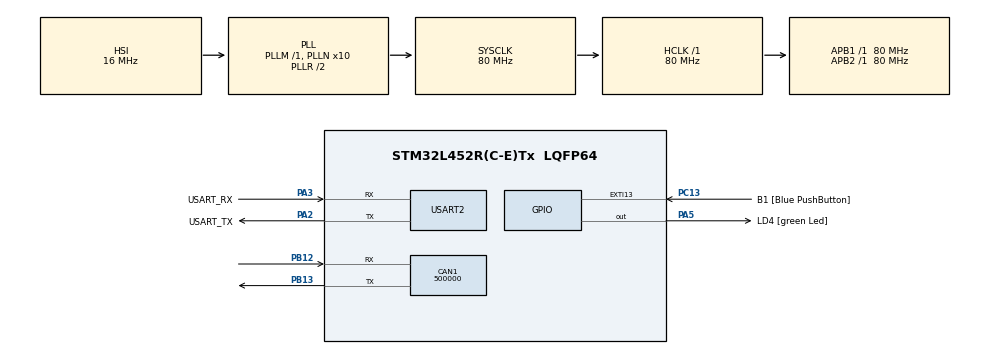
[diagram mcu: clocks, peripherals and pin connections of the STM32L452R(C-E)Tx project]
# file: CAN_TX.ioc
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CAN1.BS1=CAN_BS1_6TQ
CAN1.BS2=CAN_BS2_3TQ
CAN1.CalculateBaudRate=500000
CAN1.CalculateTimeBit=2000
CAN1.CalculateTimeQuantum=200.0
Mcu.Family=STM32L4
Mcu.Name=STM32L452R(C-E)Tx
Mcu.Package=LQFP64
NVIC.CAN1_RX0_IRQn=true\:0\:0\:false\:false\:true\:true\:true\:true
NVIC.PriorityGroup=NVIC_PRIORITYGROUP_4
PA13\ (JTMS/SWDIO).GPIO_Label=TMS
PA13\ (JTMS/SWDIO).Mode=Serial_Wire
PA13\ (JTMS/SWDIO).Signal=SYS_JTMS-SWDIO
PA14\ (JTCK/SWCLK).GPIO_Label=TCK
PA14\ (JTCK/SWCLK).Mode=Serial_Wire
PA14\ (JTCK/SWCLK).Signal=SYS_JTCK-SWCLK
PA2.GPIO_Label=USART_TX
PA2.GPIO_Mode=GPIO_MODE_AF_PP
PA2.GPIO_PuPd=GPIO_NOPULL
PA2.GPIO_Speed=GPIO_SPEED_FREQ_VERY_HIGH
PA2.Mode=Asynchronous
PA2.Signal=USART2_TX
PA3.GPIO_Label=USART_RX
PA3.GPIO_Mode=GPIO_MODE_AF_PP
PA3.GPIO_PuPd=GPIO_NOPULL
PA3.GPIO_Speed=GPIO_SPEED_FREQ_VERY_HIGH
PA3.Mode=Asynchronous
PA3.Signal=USART2_RX
PA5.GPIO_Label=LD4 [green Led]
PA5.GPIO_ModeDefaultOutputPP=GPIO_MODE_OUTPUT_PP
PA5.GPIO_PuPd=GPIO_NOPULL
PA5.GPIO_Speed=GPIO_SPEED_FREQ_LOW
PA5.Signal=GPIO_Output
PB12.Mode=CAN_Activate
PB12.Signal=CAN1_RX
PB13.Mode=CAN_Activate
PB13.Signal=CAN1_TX
PB3\ (JTDO/TRACESWO).GPIO_Label=SWO
PB3\ (JTDO/TRACESWO).Signal=SYS_JTDO-SWO
PC13.GPIO_Label=B1 [Blue PushButton]
PC13.GPIO_ModeDefaultEXTI=GPIO_MODE_IT_FALLING
PC13.GPIO_PuPd=GPIO_NOPULL
PC13.Signal=GPXTI13
PC14-OSC32_IN\ (PC14).Mode=LSE-External-Oscillator
PC14-OSC32_IN\ (PC14).Signal=RCC_OSC32_IN
PC15-OSC32_OUT\ (PC15).Mode=LSE-External-Oscillator
PC15-OSC32_OUT\ (PC15).Signal=RCC_OSC32_OUT
PH0-OSC_IN\ (PH0).Signal=RCC_OSC_IN
PH1-OSC_OUT\ (PH1).Signal=RCC_OSC_OUT
ProjectManager.HeapSize=0x200
ProjectManager.StackSize=0x400
ProjectManager.TargetToolchain=STM32CubeIDE
RCC.ADCFreq_Value=64000000
RCC.AHBFreq_Value=80000000
RCC.APB1Freq_Value=80000000
RCC.APB1TimFreq_Value=80000000
RCC.APB2Freq_Value=80000000
RCC.APB2TimFreq_Value=80000000
RCC.CortexFreq_Value=80000000
RCC.HCLKFreq_Value=80000000
RCC.HSE_VALUE=8000000
RCC.HSI48_VALUE=48000000
RCC.HSI_VALUE=16000000
RCC.MSI_VALUE=4000000
RCC.PLLN=10
RCC.PLLSourceVirtual=RCC_PLLSOURCE_HSI
RCC.PREFETCH_ENABLE=1
RCC.SYSCLKFreq_VALUE=80000000
RCC.SYSCLKSource=RCC_SYSCLKSOURCE_PLLCLK
RCC.USBFreq_Value=64000000
RCC.VCOOutputFreq_Value=160000000
USART2.VirtualMode-Asynchronous=VM_ASYNC
board=NUCLEO-L452RE

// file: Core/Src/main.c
/* USER CODE BEGIN Header */
/**
  ******************************************************************************
  * @file           : main.c
  * @brief          : Main program body
  ******************************************************************************
  * @attention
  *
  * Copyright (c) 2024 STMicroelectronics.
  * All rights reserved.
  *
  * This software is licensed under terms that can be found in the LICENSE file
  * in the root directory of this software component.
  * If no LICENSE file comes with this software, it is provided AS-IS.
  *
  ******************************************************************************
  */
/* USER CODE END Header */
#include "main.h"

/* USER CODE BEGIN Includes */
#include <stdio.h>
#include <string.h>
#include <stdlib.h>
/* USER CODE END Includes */

/* USER CODE BEGIN PTD */
char uart_msg[100];
void print(char uart_buffer[]);
void printValue(int value);
/* USER CODE END PTD */

CAN_HandleTypeDef hcan1;

UART_HandleTypeDef huart2;

void SystemClock_Config(void);
static void MX_GPIO_Init(void);
static void MX_USART2_UART_Init(void);
static void MX_CAN1_Init(void);

/* USER CODE BEGIN 0 */
CAN_TxHeaderTypeDef TxHeader; //declare variables
CAN_RxHeaderTypeDef RxHeader;

uint8_t TxData[8];
uint8_t RxData[8];

uint32_t TxMailBox;
/* USER CODE END 0 */

int main(void)
{

  /* MCU Configuration--------------------------------------------------------*/

  /* Reset of all peripherals, Initializes the Flash interface and the Systick. */
  HAL_Init();

  /* Configure the system clock */
  SystemClock_Config();

  /* Initialize all configured peripherals */
  MX_GPIO_Init();
  MX_USART2_UART_Init();
  MX_CAN1_Init();
  /* USER CODE BEGIN 2 */
  HAL_CAN_Start(&hcan1); //start CAN

  TxHeader.DLC = 2;
  TxHeader.IDE = CAN_ID_STD;
  TxHeader.RTR = CAN_RTR_DATA;
  TxHeader.StdId = 0x33;

  TxData[0] = 0x10;
  TxData[1] = 0x33;

  /* USER CODE END 2 */

  /* Infinite loop */
  while (1)
  {

    /* USER CODE BEGIN 3 */
	  if(HAL_CAN_AddTxMessage(&hcan1, &TxHeader, TxData, &TxMailBox) == HAL_OK){
		  print("Mensaje enviado");
	  }
	  else{
		  print("Error en el envío");
	  }
	  HAL_Delay(100);
  }
  /* USER CODE END 3 */
}

void SystemClock_Config(void)
{
  RCC_OscInitTypeDef RCC_OscInitStruct = {0};
  RCC_ClkInitTypeDef RCC_ClkInitStruct = {0};

  /** Configure the main internal regulator output voltage
  */
  if (HAL_PWREx_ControlVoltageScaling(PWR_REGULATOR_VOLTAGE_SCALE1) != HAL_OK)
  {
    Error_Handler();
  }

  /** Initializes the RCC Oscillators according to the specified parameters
  * in the RCC_OscInitTypeDef structure.
  */
  RCC_OscInitStruct.OscillatorType = RCC_OSCILLATORTYPE_HSI;
  RCC_OscInitStruct.HSIState = RCC_HSI_ON;
  RCC_OscInitStruct.HSICalibrationValue = RCC_HSICALIBRATION_DEFAULT;
  RCC_OscInitStruct.PLL.PLLState = RCC_PLL_ON;
  RCC_OscInitStruct.PLL.PLLSource = RCC_PLLSOURCE_HSI;
  RCC_OscInitStruct.PLL.PLLM = 1;
  RCC_OscInitStruct.PLL.PLLN = 10;
  RCC_OscInitStruct.PLL.PLLP = RCC_PLLP_DIV7;
  RCC_OscInitStruct.PLL.PLLQ = RCC_PLLQ_DIV2;
  RCC_OscInitStruct.PLL.PLLR = RCC_PLLR_DIV2;
  if (HAL_RCC_OscConfig(&RCC_OscInitStruct) != HAL_OK)
  {
    Error_Handler();
  }

  /** Initializes the CPU, AHB and APB buses clocks
  */
  RCC_ClkInitStruct.ClockType = RCC_CLOCKTYPE_HCLK|RCC_CLOCKTYPE_SYSCLK
                              |RCC_CLOCKTYPE_PCLK1|RCC_CLOCKTYPE_PCLK2;
  RCC_ClkInitStruct.SYSCLKSource = RCC_SYSCLKSOURCE_PLLCLK;
  RCC_ClkInitStruct.AHBCLKDivider = RCC_SYSCLK_DIV1;
  RCC_ClkInitStruct.APB1CLKDivider = RCC_HCLK_DIV1;
  RCC_ClkInitStruct.APB2CLKDivider = RCC_HCLK_DIV1;

  if (HAL_RCC_ClockConfig(&RCC_ClkInitStruct, FLASH_LATENCY_4) != HAL_OK)
  {
    Error_Handler();
  }
}

static void MX_CAN1_Init(void)
{

  hcan1.Instance = CAN1;
  hcan1.Init.Prescaler = 16;
  hcan1.Init.Mode = CAN_MODE_NORMAL;
  hcan1.Init.SyncJumpWidth = CAN_SJW_1TQ;
  hcan1.Init.TimeSeg1 = CAN_BS1_6TQ;
  hcan1.Init.TimeSeg2 = CAN_BS2_3TQ;
  hcan1.Init.TimeTriggeredMode = DISABLE;
  hcan1.Init.AutoBusOff = DISABLE;
  hcan1.Init.AutoWakeUp = DISABLE;
  hcan1.Init.AutoRetransmission = DISABLE;
  hcan1.Init.ReceiveFifoLocked = DISABLE;
  hcan1.Init.TransmitFifoPriority = DISABLE;
  if (HAL_CAN_Init(&hcan1) != HAL_OK)
  {
    Error_Handler();
  }

}

static void MX_USART2_UART_Init(void)
{

  huart2.Instance = USART2;
  huart2.Init.BaudRate = 115200;
  huart2.Init.WordLength = UART_WORDLENGTH_8B;
  huart2.Init.StopBits = UART_STOPBITS_1;
  huart2.Init.Parity = UART_PARITY_NONE;
  huart2.Init.Mode = UART_MODE_TX_RX;
  huart2.Init.HwFlowCtl = UART_HWCONTROL_NONE;
  huart2.Init.OverSampling = UART_OVERSAMPLING_16;
  huart2.Init.OneBitSampling = UART_ONE_BIT_SAMPLE_DISABLE;
  huart2.AdvancedInit.AdvFeatureInit = UART_ADVFEATURE_NO_INIT;
  if (HAL_UART_Init(&huart2) != HAL_OK)
  {
    Error_Handler();
  }

}

static void MX_GPIO_Init(void)
{
  GPIO_InitTypeDef GPIO_InitStruct = {0};

  /* GPIO Ports Clock Enable */
  __HAL_RCC_GPIOC_CLK_ENABLE();
  __HAL_RCC_GPIOH_CLK_ENABLE();
  __HAL_RCC_GPIOA_CLK_ENABLE();
  __HAL_RCC_GPIOB_CLK_ENABLE();

  /*Configure GPIO pin Output Level */
  HAL_GPIO_WritePin(LD4_GPIO_Port, LD4_Pin, GPIO_PIN_RESET);

  /*Configure GPIO pin : B1_Pin */
  GPIO_InitStruct.Pin = B1_Pin;
  GPIO_InitStruct.Mode = GPIO_MODE_IT_FALLING;
  GPIO_InitStruct.Pull = GPIO_NOPULL;
  HAL_GPIO_Init(B1_GPIO_Port, &GPIO_InitStruct);

  /*Configure GPIO pin : LD4_Pin */
  GPIO_InitStruct.Pin = LD4_Pin;
  GPIO_InitStruct.Mode = GPIO_MODE_OUTPUT_PP;
  GPIO_InitStruct.Pull = GPIO_NOPULL;
  GPIO_InitStruct.Speed = GPIO_SPEED_FREQ_LOW;
  HAL_GPIO_Init(LD4_GPIO_Port, &GPIO_InitStruct);

}

/* USER CODE BEGIN 4 */
void print(char uart_buffer[]){
	sprintf(uart_msg, "%s \n\r", uart_buffer);
	HAL_UART_Transmit(&huart2,(uint8_t*)uart_msg,strlen(uart_msg),HAL_MAX_DELAY);

}

void printValue(int value){
	sprintf(uart_msg, "%hu \n\r", value);
	HAL_UART_Transmit(&huart2,(uint8_t*)uart_msg,strlen(uart_msg),HAL_MAX_DELAY);

}
/* USER CODE END 4 */

void Error_Handler(void)
{
  __disable_irq();
  while (1)
  {
  }
}
